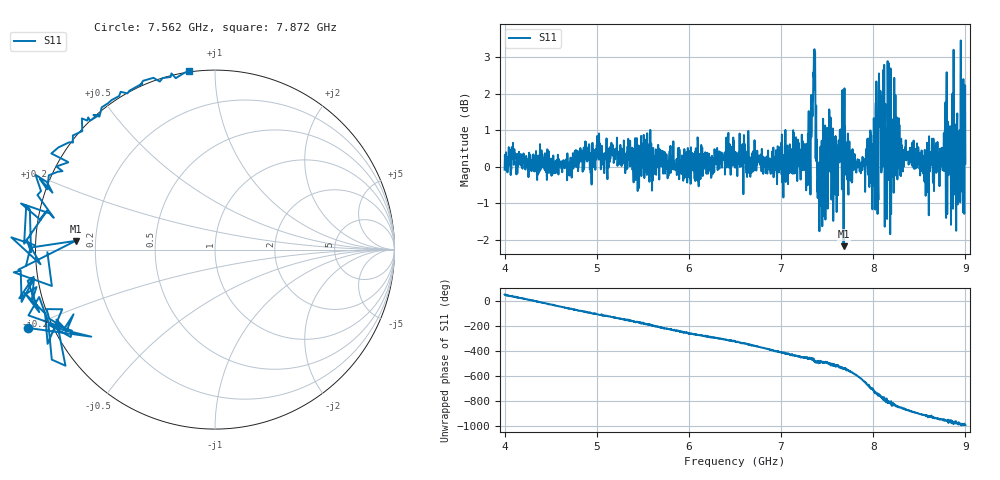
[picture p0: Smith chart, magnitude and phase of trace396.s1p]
! Created with skrf 1.8.0 (http://scikit-rf.org).
# Hz S RI R 50.0
!freq ReS11 ImS11
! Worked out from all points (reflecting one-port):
!   1601 points, 4 GHz to 9 GHz, reference 50 ohm
!   lowest |S11| = -2.2 dB at 7.678 GHz (marker M1), VSWR 8.01, Z = 6.25 + j1.54 ohm
!   phase of S11 starts at 53 deg and turns -1045 deg over the sweep
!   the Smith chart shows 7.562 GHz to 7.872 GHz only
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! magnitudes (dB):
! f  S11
! 4 GHz  -0.1
! 4.625 GHz  -0.1
! 5.25 GHz  0.1
! 5.875 GHz  0.0
! 6.5 GHz  0.4
! 7.125 GHz  -0.2
! 7.294 GHz  0.5
! 7.347 GHz  1.8
! 7.369 GHz  3.1
! 7.4 GHz  -0.6
! 7.422 GHz  -0.7
! 7.512 GHz  0.8
! 7.591 GHz  0.8
! 7.65 GHz  1.0
! 7.678 GHz  -2.2
! 7.75 GHz  0.4
! 7.997 GHz  0.1
! 8.088 GHz  -0.2
! 8.128 GHz  1.2
! 8.178 GHz  2.6
! 8.209 GHz  0.2
! 8.253 GHz  0.6
! 8.375 GHz  0.3
! 8.578 GHz  0.3
! 8.788 GHz  -1.3
! 8.844 GHz  -1.6
! 8.972 GHz  0.6
! 9 GHz  0.1
